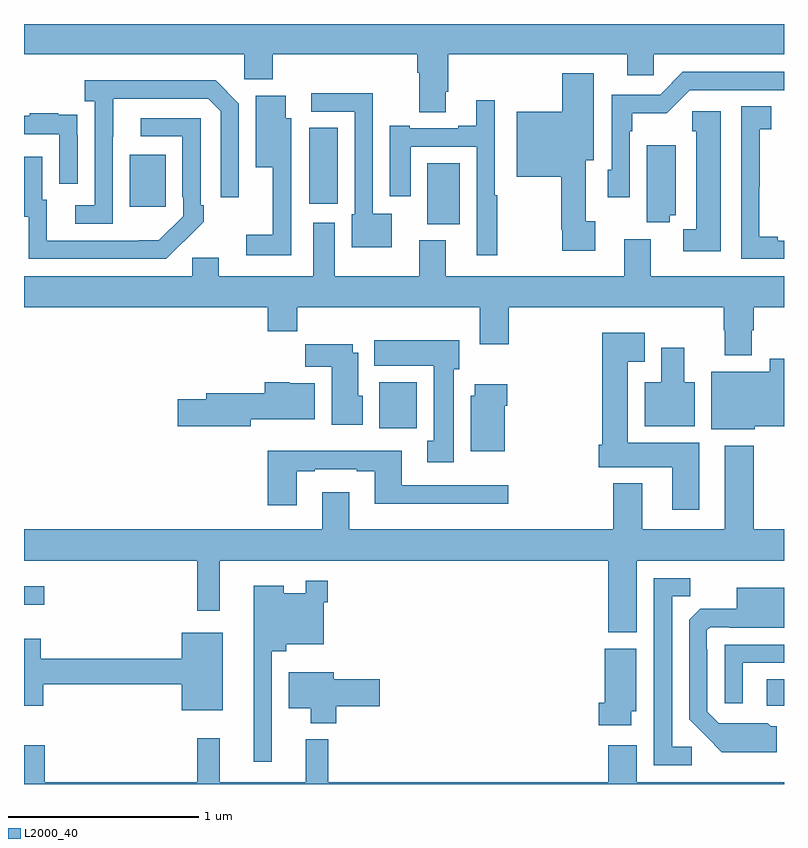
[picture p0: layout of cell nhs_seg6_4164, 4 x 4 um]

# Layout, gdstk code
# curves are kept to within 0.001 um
import gdstk
lib = gdstk.Library(unit=1e-6, precision=1e-09)
def R(c, l, rs):  # rectangles x0, y0, x1, y1
    for r in rs: c.add(gdstk.rectangle(r[:2], r[2:], *l))
def P(c, l, *ps):  # polygons
    for p in ps: c.add(gdstk.Polygon(p, *l))
L2000_40 = (2000, 40)

nhs_seg6_4164 = lib.new_cell('nhs_seg6_4164')
R(nhs_seg6_4164, L2000_40, [(360.909,939.912,361,940.052), (357,940.443,357.106,940.54), (358.871,941.372,359.068,941.614), (359.123,942.446,359.293,942.766), (357.557,942.537,357.745,942.811), (358.502,942.555,358.651,942.953)])
P(nhs_seg6_4164, L2000_40, [(360.315,943.34),(361,943.34),(361,943.5),(357,943.5),(357,943.34),(358.158,943.34),(358.158,943.209),(358.31,943.209),(358.31,943.34),(359.069,943.34),(359.069,943.244),(359.081,943.244),(359.081,943.036),(359.221,943.036),(359.221,943.144),(359.234,943.144),(359.234,943.34),(360.176,943.34),(360.176,943.23),(360.315,943.23)],
  [(360.189,942.935),(360.202,942.935),(360.202,943.031),(360.383,943.031),(360.504,943.152),(361,943.152),(361,943.248),(360.468,943.248),(360.348,943.128),(360.093,943.128),(360.093,942.732),(360.072,942.732),(360.072,942.588),(360.189,942.588)],
  [(360.007,942.462),(359.956,942.462),(359.956,942.782),(359.998,942.782),(359.998,943.24),(359.834,943.24),(359.834,943.039),(359.594,943.039),(359.594,942.695),(359.827,942.695),(359.827,942.418),(359.834,942.418),(359.834,942.306),(360.007,942.306)],
  [(357.468,942.907),(357.469,943.107),(357.969,943.107),(358.035,943.041),(358.035,942.588),(358.131,942.588),(358.131,943.081),(358.008,943.204),(357.321,943.204),(357.321,943.094),(357.372,943.094),(357.372,942.546),(357.27,942.546),(357.27,942.45),(357.468,942.45)],
  [(358.936,942.502),(358.836,942.502),(358.836,943.136),(358.512,943.136),(358.512,943.038),(358.74,943.038),(358.74,942.498),(358.724,942.498),(358.724,942.326),(358.936,942.326)],
  [(358.407,943.003),(358.378,943.003),(358.378,943.123),(358.22,943.123),(358.22,942.746),(358.31,942.746),(358.31,942.391),(358.17,942.391),(358.17,942.282),(358.407,942.282)],
  [(359.491,942.599),(359.478,942.599),(359.478,943.099),(359.381,943.099),(359.381,942.964),(359.285,942.964),(359.285,942.951),(359.029,942.951),(359.029,942.964),(358.925,942.964),(358.925,942.594),(359.035,942.594),(359.035,942.855),(359.382,942.855),(359.382,942.282),(359.491,942.282)],
  [(361,942.36),(360.967,942.36),(360.967,942.38),(360.871,942.38),(360.871,942.643),(360.873,942.643),(360.873,942.947),(360.934,942.947),(360.934,943.067),(360.774,943.067),(360.774,942.264),(361,942.264)],
  [(360.667,943.042),(360.517,943.042),(360.517,942.936),(360.539,942.936),(360.539,942.42),(360.471,942.42),(360.471,942.305),(360.667,942.305)],
  [(357.282,942.914),(357.281,942.914),(357.281,943.023),(357.179,943.023),(357.179,943.03),(357.031,943.03),(357.031,943.017),(357,943.017),(357,942.921),(357.186,942.921),(357.186,942.66),(357.282,942.66)],
  [(357.839,942.355),(357.84,942.354),(357.945,942.459),(357.945,942.547),(357.93,942.547),(357.93,943.005),(357.615,943.005),(357.615,942.909),(357.834,942.909),(357.834,942.589),(357.837,942.589),(357.837,942.489),(357.709,942.361),(357.121,942.36),(357.121,942.576),(357.097,942.576),(357.097,942.802),(357,942.802),(357,942.486),(357.024,942.486),(357.024,942.264),(357.748,942.264)],
  [(360.398,942.494),(360.43,942.494),(360.43,942.862),(360.278,942.862),(360.278,942.457),(360.398,942.457)],
  [(360.829,941.888),(360.842,941.888),(360.842,942.008),(361,942.008),(361,942.172),(360.298,942.172),(360.298,942.367),(360.158,942.367),(360.158,942.172),(359.221,942.172),(359.221,942.361),(359.081,942.361),(359.081,942.172),(358.636,942.172),(358.636,942.454),(358.523,942.454),(358.523,942.172),(358.024,942.172),(358.024,942.27),(357.885,942.27),(357.885,942.172),(357,942.172),(357,942.008),(358.283,942.008),(358.283,941.884),(358.439,941.884),(358.439,942.008),(359.399,942.008),(359.399,941.814),(359.552,941.814),(359.552,942.008),(360.682,942.008),(360.682,941.888),(360.689,941.888),(360.689,941.756),(360.829,941.756)],
  [(360.553,941.296),(360.178,941.296),(360.178,941.723),(360.268,941.723),(360.268,941.875),(360.044,941.875),(360.044,941.286),(360.026,941.286),(360.026,941.168),(360.413,941.168),(360.413,940.944),(360.553,940.944)],
  [(359.263,941.682),(359.29,941.682),(359.29,941.836),(358.844,941.836),(358.844,941.702),(359.156,941.702),(359.156,941.306),(359.123,941.306),(359.123,941.193),(359.263,941.193)],
  [(358.783,941.544),(358.759,941.544),(358.759,941.77),(358.729,941.77),(358.729,941.815),(358.48,941.815),(358.48,941.696),(358.619,941.696),(358.619,941.39),(358.783,941.39)],
  [(360.529,941.614),(360.475,941.614),(360.475,941.797),(360.353,941.797),(360.353,941.614),(360.266,941.614),(360.266,941.384),(360.529,941.384)],
  [(360.846,941.384),(361,941.384),(361,941.737),(360.926,941.737),(360.926,941.671),(360.617,941.671),(360.617,941.366),(360.846,941.366)],
  [(358.194,941.42),(358.531,941.42),(358.531,941.608),(358.398,941.608),(358.398,941.614),(358.268,941.614),(358.268,941.556),(357.959,941.556),(357.959,941.526),(357.81,941.526),(357.81,941.384),(358.194,941.384)],
  [(359.53,941.492),(359.543,941.492),(359.543,941.605),(359.372,941.605),(359.372,941.544),(359.351,941.544),(359.351,941.252),(359.53,941.252)],
  [(360.226,940.676),(361,940.676),(361,940.84),(360.842,940.84),(360.842,941.281),(360.689,941.281),(360.689,940.84),(360.253,940.84),(360.253,941.083),(360.101,941.083),(360.101,940.84),(358.711,940.84),(358.711,941.035),(358.571,941.035),(358.571,940.84),(357,940.84),(357,940.676),(357.913,940.676),(357.913,940.413),(358.03,940.413),(358.03,940.676),(360.074,940.676),(360.074,940.298),(360.226,940.298)],
  [(358.435,941.145),(358.531,941.145),(358.531,941.157),(358.751,941.157),(358.751,941.145),(358.847,941.145),(358.847,940.976),(359.548,940.976),(359.548,941.073),(358.987,941.073),(358.987,941.254),(358.283,941.254),(358.283,940.968),(358.435,940.968)],
  [(360.514,939.696),(360.411,939.696),(360.411,940.489),(360.507,940.489),(360.507,940.584),(360.315,940.584),(360.315,939.6),(360.514,939.6)],
  [(358.305,940.199),(358.379,940.199),(358.379,940.235),(358.578,940.235),(358.578,940.457),(358.598,940.457),(358.598,940.57),(358.482,940.57),(358.482,940.504),(358.366,940.504),(358.366,940.543),(358.208,940.543),(358.208,939.618),(358.305,939.618)],
  [(360.961,939.804),(360.93,939.804),(360.914,939.82),(360.657,939.819),(360.597,939.879),(360.597,940.208),(360.594,940.208),(360.594,940.308),(360.612,940.326),(360.712,940.326),(360.712,940.322),(361,940.322),(361,940.534),(360.752,940.534),(360.752,940.423),(360.56,940.423),(360.501,940.364),(360.501,939.842),(360.673,939.668),(360.961,939.668)],
  [(358.045,940.297),(357.83,940.297),(357.83,940.16),(357.088,940.16),(357.088,940.264),(357,940.264),(357,939.912),(357.101,939.912),(357.101,940.024),(357.83,940.024),(357.83,939.887),(358.045,939.887)],
  [(360.783,940.137),(361,940.137),(361,940.233),(360.687,940.233),(360.687,939.924),(360.783,939.924)],
  [(360.196,939.882),(360.223,939.882),(360.223,940.213),(360.056,940.213),(360.056,939.927),(360.026,939.927),(360.026,939.809),(360.196,939.809)],
  [(358.643,939.91),(358.873,939.91),(358.873,940.052),(358.63,940.052),(358.63,940.087),(358.394,940.087),(358.394,939.899),(358.508,939.899),(358.508,939.821),(358.643,939.821)],
  [(361,939.508),(360.226,939.508),(360.226,939.703),(360.074,939.703),(360.074,939.508),(358.601,939.508),(358.601,939.736),(358.484,939.736),(358.484,939.508),(358.031,939.508),(358.031,939.742),(357.913,939.742),(357.913,939.508),(357.11,939.508),(357.11,939.703),(357,939.703),(357,939.5),(361,939.5)])

lib.write_gds('nhs_seg6_4164.gds')
